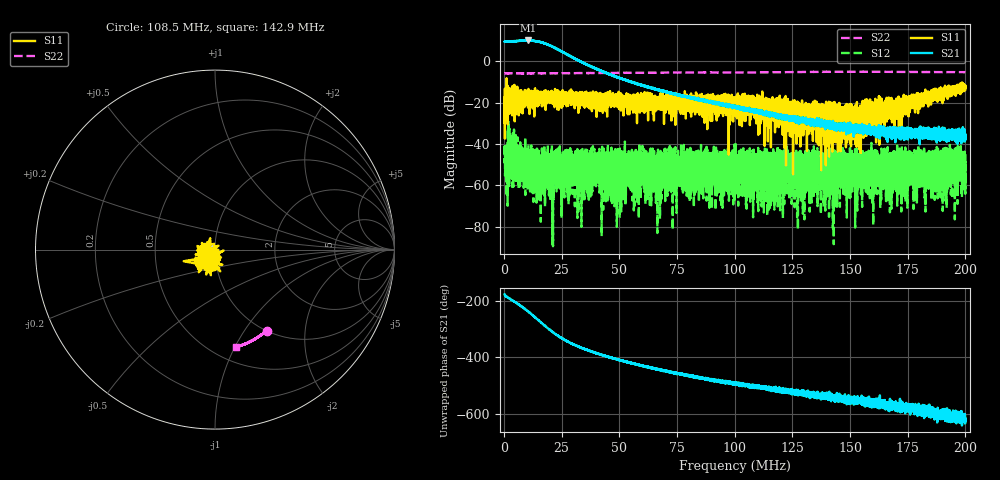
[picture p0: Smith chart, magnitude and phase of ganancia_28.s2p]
# Hz S DB R 50
! CMT, M5065, 19127446, 24.2.4/2
! Date: 11/8/2024 4:01:23 PM
! Data: Format (Calibration Info)
! Freq	S11:dB/Ang(F2)	S21:dB/Ang(F2)	S12:dB/Ang(F2)	S22:dB/Ang(F2)
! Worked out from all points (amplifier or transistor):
!   9000 points, 300 kHz to 200 MHz, reference 50 ohm
!   highest |S21| = 10.0 dB at 10.44 MHz (marker M1)
!   |S21| within 3 dB of that: start of sweep to 21.03 MHz
!   unconditionally stable (mu >= 1): start of sweep to end of sweep
!   at 33.59 MHz: K = 189.45, MAG = 1.2 dB, |S12| = -54.2 dB
!   at 100.2 MHz: K = 3751.04, MAG = -20.6 dB, |S12| = -58.4 dB
!   at 200 MHz: K = 3206.07, MAG = -34.7 dB, |S12| = -43.2 dB
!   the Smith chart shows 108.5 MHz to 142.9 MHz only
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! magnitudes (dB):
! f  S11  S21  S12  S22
! 300 kHz  -17.7  9.5  -46.9  -5.9
! 2.519 MHz  -18.2  9.6  -50.2  -5.8
! 10.44 MHz  -16.8  10.0  -45.7  -5.8
! 16.12 MHz  -17.3  9.2  -46.9  -5.8
! 33.59 MHz  -15.9  -0.3  -54.2  -5.7
! 66.87 MHz  -19.4  -13.7  -60.9  -5.5
! 100.2 MHz  -19.2  -22.1  -58.4  -5.4
! 113 MHz  -22.4  -24.6  -56.3  -5.4
! 115.7 MHz  -22.6  -25.3  -69.4  -5.3
! 124 MHz  -19.6  -28.3  -47.5  -5.3
! 126.5 MHz  -25.4  -28.7  -46.8  -5.2
! 131.3 MHz  -24.8  -29.6  -54.0  -5.2
! 133.4 MHz  -27.7  -28.4  -48.9  -5.2
! 139.2 MHz  -27.9  -32.7  -58.3  -5.1
! 143.5 MHz  -27.3  -31.8  -46.0  -5.1
! 147 MHz  -27.7  -33.1  -61.3  -5.1
! 153.8 MHz  -27.9  -32.7  -58.6  -5.1
! 157.8 MHz  -30.2  -32.9  -50.9  -5.1
! 161.3 MHz  -39.2  -32.7  -51.1  -5.1
! 166.7 MHz  -25.5  -33.7  -55.0  -5.2
! 199 MHz  -11.5  -35.2  -59.3  -5.3
! 200 MHz  -12.5  -36.5  -43.2  -5.3
